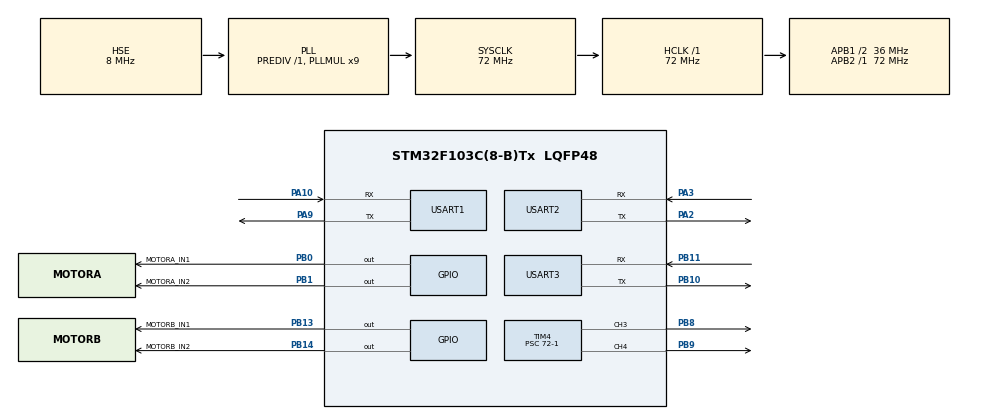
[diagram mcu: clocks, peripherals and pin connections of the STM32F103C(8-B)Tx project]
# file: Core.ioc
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Mcu.Family=STM32F1
Mcu.Name=STM32F103C(8-B)Tx
Mcu.Package=LQFP48
NVIC.PriorityGroup=NVIC_PRIORITYGROUP_4
NVIC.USART1_IRQn=true\:0\:0\:false\:false\:true\:true\:true\:true
NVIC.USART2_IRQn=true\:0\:0\:false\:false\:true\:true\:true\:true
PA10.Mode=Asynchronous
PA10.Signal=USART1_RX
PA13.Mode=Serial_Wire
PA13.Signal=SYS_JTMS-SWDIO
PA14.Mode=Serial_Wire
PA14.Signal=SYS_JTCK-SWCLK
PA2.Mode=Asynchronous
PA2.Signal=USART2_TX
PA3.Mode=Asynchronous
PA3.Signal=USART2_RX
PA9.Mode=Asynchronous
PA9.Signal=USART1_TX
PB0.GPIO_Label=MOTORA_IN1
PB0.Signal=GPIO_Output
PB1.GPIO_Label=MOTORA_IN2
PB1.Signal=GPIO_Output
PB10.Mode=Asynchronous
PB10.Signal=USART3_TX
PB11.Mode=Asynchronous
PB11.Signal=USART3_RX
PB13.GPIO_Label=MOTORB_IN1
PB13.Signal=GPIO_Output
PB14.GPIO_Label=MOTORB_IN2
PB14.Signal=GPIO_Output
PB8.Signal=S_TIM4_CH3
PB9.Signal=S_TIM4_CH4
PC14-OSC32_IN.Mode=LSE-External-Oscillator
PC14-OSC32_IN.Signal=RCC_OSC32_IN
PC15-OSC32_OUT.Mode=LSE-External-Oscillator
PC15-OSC32_OUT.Signal=RCC_OSC32_OUT
PD0-OSC_IN.Mode=HSE-External-Oscillator
PD0-OSC_IN.Signal=RCC_OSC_IN
PD1-OSC_OUT.Mode=HSE-External-Oscillator
PD1-OSC_OUT.Signal=RCC_OSC_OUT
ProjectManager.HeapSize=0x200
ProjectManager.StackSize=0x400
ProjectManager.TargetToolchain=STM32CubeIDE
RCC.AHBFreq_Value=72000000
RCC.APB1CLKDivider=RCC_HCLK_DIV2
RCC.APB1Freq_Value=36000000
RCC.APB1TimFreq_Value=72000000
RCC.APB2Freq_Value=72000000
RCC.APB2TimFreq_Value=72000000
RCC.HCLKFreq_Value=72000000
RCC.PLLMUL=RCC_PLL_MUL9
RCC.PLLSourceVirtual=RCC_PLLSOURCE_HSE
RCC.SYSCLKFreq_VALUE=72000000
RCC.SYSCLKSource=RCC_SYSCLKSOURCE_PLLCLK
RCC.USBFreq_Value=72000000
SH.S_TIM4_CH3.0=TIM4_CH3,PWM Generation3 CH3
SH.S_TIM4_CH4.0=TIM4_CH4,PWM Generation4 CH4
TIM1.Period=1000-1
TIM1.Prescaler=72-1
TIM4.Channel-PWM\ Generation3\ CH3=TIM_CHANNEL_3
TIM4.Channel-PWM\ Generation4\ CH4=TIM_CHANNEL_4
TIM4.Period=1000-1
TIM4.Prescaler=72-1
USART1.VirtualMode=VM_ASYNC
USART2.VirtualMode=VM_ASYNC
USART3.VirtualMode=VM_ASYNC
VP_TIM1_VS_ClockSourceINT.Mode=Internal
board=custom

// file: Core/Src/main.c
/* USER CODE BEGIN Header */
/**
  ******************************************************************************
  * @file           : main.c
  * @brief          : Main program body
  ******************************************************************************
  * @attention
  *
  * Copyright (c) 2024 STMicroelectronics.
  * All rights reserved.
  *
  * This software is licensed under terms that can be found in the LICENSE file
  * in the root directory of this software component.
  * If no LICENSE file comes with this software, it is provided AS-IS.
  *
  ******************************************************************************
  */
/* USER CODE END Header */
#include "main.h"
#include "tim.h"
#include "usart.h"
#include "gpio.h"

/* USER CODE BEGIN Includes */
#include <stdio.h>

#include "ble.h"
/* USER CODE END Includes */

/* USER CODE BEGIN PTD */
typedef enum
{
  // 移动动作组
  CHASSIS_FORWARD = 0x01U,
  CHASSIS_BACKWARD = 0x02U,
  CHASSIS_LEFT = 0x04U,
  CHASSIS_RIGHT = 0x08U,
  // 奇葩操作，旋转动作组
  CHASSIS_ANTICLOCKWISE = 0x03U,
  CHASSIS_CLOCKWISE = 0x0CU,
  // 预设动作组，四个动作只能同时执行一个
  CHASSIS_TO_SLOPE = 0x10U,
  CHASSIS_TO_TOP = 0x20U,
  CHASSIS_TO_BOTTOM = 0x40U,
  CHASSIS_TO_RIM = 0x80U,
} Chassis_State_t;

/* USER CODE END PTD */

/* USER CODE BEGIN PV */
uint8_t cmd_rb[UPPER_CMD_LENGTH];
uint8_t cmd_chassis_tb[CHASSIS_CMD_LENGTH];

uint8_t chassis_state;

// float chassis_vx, chassis_vy, ///< 底盘速度
//       chassis_omega, ///< 底盘角速度
//       chassis_x, chassis_y; ///< 底盘位移
/* USER CODE END PV */

void SystemClock_Config(void);
/* USER CODE BEGIN PFP */
void Chassis_SendCMD(uint8_t cmd, uint8_t* data1, uint8_t* data2);
/* USER CODE END PFP */

/* USER CODE BEGIN 0 */

/* printf retarget */
int __io_putchar(int ch)
{
  HAL_UART_Transmit(&huart2, (uint8_t*)&ch, 1, 0xFFFF);
  return ch;
}

void HAL_TIM_PeriodElapsedCallback(TIM_HandleTypeDef* htim)
{
  if (htim == &htim1) {}
}

void HAL_UART_RxCpltCallback(UART_HandleTypeDef* huart) {}

void HAL_UARTEx_RxEventCallback(UART_HandleTypeDef* huart, uint16_t Size)
{
  if (huart == BLE_UART_HANDLE)
  {
    BLE_rx_buffer.size = Size;
    BLE_RxCpltCallback();
    HAL_UARTEx_ReceiveToIdle_IT(BLE_UART_HANDLE, BLE_rx_buffer.buffer, BLE_RX_BUFFER_SIZE);
  }
}

void Chassis_State_Handler(uint8_t state, uint8_t speed)
{
  if (state == chassis_state)
  {
    Chassis_SendCMD(0x77, 0, 0);
    return;
  }
  // 当之前存在正在执行的动作组，拒绝被状态消失打断
  if ((chassis_state & 0xF0) && (chassis_state | state) == chassis_state) return;
  uint8_t cmd = 0x07;
  float data1 = 0, data2 = 0;
  // 检测动作组变化，只对动作新增敏感
  if (((state | chassis_state) & 0xF0) != (chassis_state & 0xF0))
  {
    cmd = 0x07;
    if (state & CHASSIS_TO_SLOPE)
    {
      data1 = 100;
      data2 = 0;
    } else if (state & CHASSIS_TO_TOP)
    {
      data1 = 0;
      data2 = 150;
    } else if (state & CHASSIS_TO_BOTTOM)
    {
      data1 = 0;
      data2 = -150;
    } else if (state & CHASSIS_TO_RIM)
    {
      data1 = -100;
      data2 = 0;
    }
  } else
  {
    // TODO: 重新根据一些速度极限数据分配速度
    float vx = 0, vy = 0, omega = 0;
    if ((state & CHASSIS_ANTICLOCKWISE) == CHASSIS_ANTICLOCKWISE)
      omega += speed;
    else
    {
      if (state & CHASSIS_FORWARD)
        vy += speed;
      if (state & CHASSIS_BACKWARD)
        vy -= speed;
    }
    if ((state & CHASSIS_CLOCKWISE) == CHASSIS_CLOCKWISE)
      omega -= speed;
    else
    {
      if (state & CHASSIS_LEFT)
        vx -= speed;
      if (state & CHASSIS_RIGHT)
        vx += speed;
    }
    if (omega)
    {
      cmd = 0x04;
      data1 = 10 / 255.0 * omega;
    } else if (vx || vy)
    {
      cmd = 0x05;
      data1 = vx, data2 = vy;
    }
  }
  chassis_state = state;
  Chassis_SendCMD(cmd, (uint8_t*)&data1, (uint8_t*)&data2);
}

void CMD_Handler(uint8_t cmd, uint8_t data[4])
{
  switch (cmd)
  {
  case 0x05:
    // printf("%c%c%c%c\n", data[0], data[1], data[2], data[3]);
    Chassis_State_Handler(data[0], data[1]);
    break;
  default: ;
  }
}

void Chassis_SendCMD(uint8_t cmd, uint8_t* data1, uint8_t* data2)
{
  // 协议头
  cmd_chassis_tb[0] = 0x0F;
  // 指令位
  cmd_chassis_tb[1] = cmd;
  if (cmd != 0x02 && cmd != 0x03 && cmd != 0x77)
  {
    // 数据组1
    cmd_chassis_tb[2] = *(data1 + 0);
    cmd_chassis_tb[3] = *(data1 + 1);
    cmd_chassis_tb[4] = *(data1 + 2);
    cmd_chassis_tb[5] = *(data1 + 3);
    // 数据组2
    cmd_chassis_tb[6] = *(data2 + 0);
    cmd_chassis_tb[7] = *(data2 + 1);
    cmd_chassis_tb[8] = *(data2 + 2);
    cmd_chassis_tb[9] = *(data2 + 3);
  }
  // 协议尾
  cmd_chassis_tb[CHASSIS_CMD_LENGTH - 2] = 0xF0;
  // 校验和
  cmd_chassis_tb[CHASSIS_CMD_LENGTH - 1] = 0;
  for (int i = 0; i < CHASSIS_CMD_LENGTH - 1; i++)
    cmd_chassis_tb[CHASSIS_CMD_LENGTH - 1] += cmd_chassis_tb[i];

  // 发送指令
  // 在 115200 的波特率下发送 12 个字节大约需要 1.04 ms，在目前的情况下发送间隔 > 80ms，故不需要考虑多次发送占用问题
  HAL_UART_Transmit(CHASSIS_UART_HANDLE, cmd_chassis_tb, CHASSIS_CMD_LENGTH, 0xFFFF);
  // HAL_UART_Transmit_IT(CHASSIS_UART_HANDLE, cmd_chassis_tb, CHASSIS_CMD_LENGTH);
}

/* USER CODE END 0 */

int main(void)
{

  /* MCU Configuration--------------------------------------------------------*/

  /* Reset of all peripherals, Initializes the Flash interface and the Systick. */
  HAL_Init();

  /* Configure the system clock */
  SystemClock_Config();

  /* Initialize all configured peripherals */
  MX_GPIO_Init();
  MX_TIM4_Init();
  MX_USART1_UART_Init();
  MX_USART2_UART_Init();
  MX_USART3_UART_Init();
  MX_TIM1_Init();
  /* USER CODE BEGIN 2 */
#if DEBUG
  printf("Hello World!\n");
#endif
  BLE_Init();
#if DEBUG
  printf("Ble Ready!\n");
#endif
  Chassis_SendCMD(0x02, 0, 0);
  /* USER CODE END 2 */

  /* Infinite loop */
  while (1)
  {

  }
}

void SystemClock_Config(void)
{
  RCC_OscInitTypeDef RCC_OscInitStruct = {0};
  RCC_ClkInitTypeDef RCC_ClkInitStruct = {0};

  /** Initializes the RCC Oscillators according to the specified parameters
  * in the RCC_OscInitTypeDef structure.
  */
  RCC_OscInitStruct.OscillatorType = RCC_OSCILLATORTYPE_HSE;
  RCC_OscInitStruct.HSEState = RCC_HSE_ON;
  RCC_OscInitStruct.HSEPredivValue = RCC_HSE_PREDIV_DIV1;
  RCC_OscInitStruct.HSIState = RCC_HSI_ON;
  RCC_OscInitStruct.PLL.PLLState = RCC_PLL_ON;
  RCC_OscInitStruct.PLL.PLLSource = RCC_PLLSOURCE_HSE;
  RCC_OscInitStruct.PLL.PLLMUL = RCC_PLL_MUL9;
  if (HAL_RCC_OscConfig(&RCC_OscInitStruct) != HAL_OK)
  {
    Error_Handler();
  }

  /** Initializes the CPU, AHB and APB buses clocks
  */
  RCC_ClkInitStruct.ClockType = RCC_CLOCKTYPE_HCLK | RCC_CLOCKTYPE_SYSCLK
    | RCC_CLOCKTYPE_PCLK1 | RCC_CLOCKTYPE_PCLK2;
  RCC_ClkInitStruct.SYSCLKSource = RCC_SYSCLKSOURCE_PLLCLK;
  RCC_ClkInitStruct.AHBCLKDivider = RCC_SYSCLK_DIV1;
  RCC_ClkInitStruct.APB1CLKDivider = RCC_HCLK_DIV2;
  RCC_ClkInitStruct.APB2CLKDivider = RCC_HCLK_DIV1;

  if (HAL_RCC_ClockConfig(&RCC_ClkInitStruct, FLASH_LATENCY_2) != HAL_OK)
  {
    Error_Handler();
  }
}

void Error_Handler(void)
{
  __disable_irq();
  while (1) {}
}
